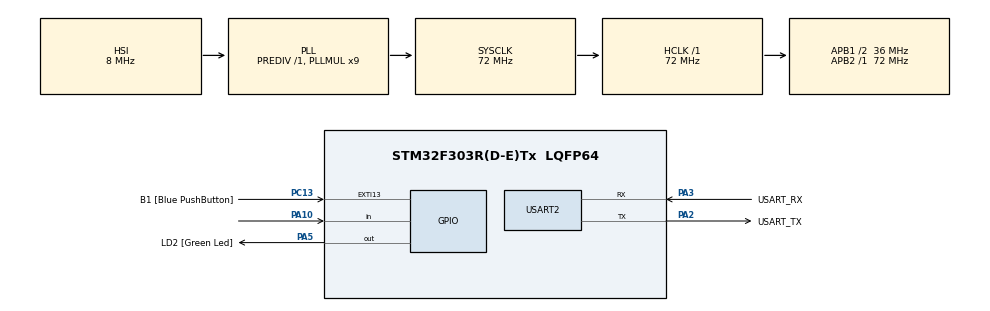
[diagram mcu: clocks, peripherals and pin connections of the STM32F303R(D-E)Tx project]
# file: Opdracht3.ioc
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Mcu.Family=STM32F3
Mcu.Name=STM32F303R(D-E)Tx
Mcu.Package=LQFP64
NVIC.PriorityGroup=NVIC_PRIORITYGROUP_0
PA10.Signal=GPIO_Input
PA13.GPIO_Label=TMS
PA13.Mode=Serial_Wire
PA13.Signal=SYS_JTMS-SWDIO
PA14.GPIO_Label=TCK
PA14.Mode=Serial_Wire
PA14.Signal=SYS_JTCK-SWCLK
PA2.GPIO_Label=USART_TX
PA2.GPIO_Mode=GPIO_MODE_AF_PP
PA2.GPIO_PuPd=GPIO_NOPULL
PA2.GPIO_Speed=GPIO_SPEED_FREQ_LOW
PA2.Mode=Asynchronous
PA2.Signal=USART2_TX
PA3.GPIO_Label=USART_RX
PA3.GPIO_Mode=GPIO_MODE_AF_PP
PA3.GPIO_PuPd=GPIO_NOPULL
PA3.GPIO_Speed=GPIO_SPEED_FREQ_LOW
PA3.Mode=Asynchronous
PA3.Signal=USART2_RX
PA5.GPIO_Label=LD2 [Green Led]
PA5.GPIO_Mode=GPIO_MODE_OUTPUT_PP
PA5.GPIO_PuPd=GPIO_NOPULL
PA5.GPIO_Speed=GPIO_SPEED_FREQ_LOW
PA5.Signal=GPIO_Output
PB3.GPIO_Label=SWO
PB3.Signal=SYS_JTDO-TRACESWO
PC13.GPIO_Label=B1 [Blue PushButton]
PC13.GPIO_ModeDefaultEXTI=GPIO_MODE_IT_FALLING
PC13.Signal=GPXTI13
PC14-OSC32_IN.Mode=LSE-External-Oscillator
PC14-OSC32_IN.Signal=RCC_OSC32_IN
PC15-OSC32_OUT.Mode=LSE-External-Oscillator
PC15-OSC32_OUT.Signal=RCC_OSC32_OUT
PF0-OSC_IN.Mode=HSE-External-Clock-Source
PF0-OSC_IN.Signal=RCC_OSC_IN
PF1-OSC_OUT.Signal=RCC_OSC_OUT
ProjectManager.HeapSize=0x200
ProjectManager.StackSize=0x400
ProjectManager.TargetToolchain=STM32CubeIDE
RCC.AHBFreq_Value=72000000
RCC.APB1CLKDivider=RCC_HCLK_DIV2
RCC.APB1Freq_Value=36000000
RCC.APB1TimFreq_Value=72000000
RCC.APB2Freq_Value=72000000
RCC.APB2TimFreq_Value=72000000
RCC.CortexFreq_Value=72000000
RCC.HCLKFreq_Value=72000000
RCC.HSE_VALUE=8000000
RCC.HSI_VALUE=8000000
RCC.PLLM=8
RCC.PLLMUL=RCC_PLL_MUL9
RCC.PLLN=336
RCC.PLLP=RCC_PLLP_DIV4
RCC.PLLQ=7
RCC.RCC_PLLsource_Clock_Source_FROM_HSE=RCC_HSE_PREDIV_DIV2
RCC.SYSCLKFreq_VALUE=72000000
RCC.SYSCLKSourceVirtual=RCC_SYSCLKSOURCE_PLLCLK
RCC.USBFreq_Value=72000000
USART2.VirtualMode-Asynchronous=VM_ASYNC
board=NUCLEO-F303RE

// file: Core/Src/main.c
/* USER CODE BEGIN Header */
/**
  ******************************************************************************
  * @file           : main.c
  * @brief          : Main program body
  ******************************************************************************
  * @attention
  *
  * Copyright (c) 2026 STMicroelectronics.
  * All rights reserved.
  *
  * This software is licensed under terms that can be found in the LICENSE file
  * in the root directory of this software component.
  * If no LICENSE file comes with this software, it is provided AS-IS.
  *
  ******************************************************************************
  */
/* USER CODE END Header */
#include "main.h"

/* USER CODE BEGIN PD */
#define TRUE 1
#define FALSE 0
/* USER CODE END PD */

UART_HandleTypeDef huart2;

void SystemClock_Config(void);
static void MX_GPIO_Init(void);
static void MX_USART2_UART_Init(void);

int main(void)
{

  /* MCU Configuration--------------------------------------------------------*/

  /* Reset of all peripherals, Initializes the Flash interface and the Systick. */
  HAL_Init();

  /* Configure the system clock */
  SystemClock_Config();

  /* Initialize all configured peripherals */
  MX_GPIO_Init();
  MX_USART2_UART_Init();
  /* USER CODE BEGIN 2 */
int oudeToestandKnop;
int aantalDrukken = 0;
GPIO_PinState value;

GPIO_InitTypeDef GPIO_InitStruct2 = {0};
GPIO_InitStruct2.Pin = GPIO_PIN_10;
GPIO_InitStruct2.Mode = GPIO_MODE_INPUT;
GPIO_InitStruct2.Pull = GPIO_PULLUP;
HAL_GPIO_Init(GPIOA, &GPIO_InitStruct2);

value = HAL_GPIO_ReadPin(GPIOA, GPIO_PIN_10);
oudeToestandKnop = (value == GPIO_PIN_SET) ? TRUE : FALSE;

if(value == GPIO_PIN_SET)
	oudeToestandKnop = FALSE;
else
	oudeToestandKnop = TRUE;
  /* USER CODE END 2 */

  /* Infinite loop */
  while (1)
  {

    /* USER CODE BEGIN 3 */
	  GPIO_PinState huidigeToestand = HAL_GPIO_ReadPin(GPIOA, GPIO_PIN_10);
	  	  if(oudeToestandKnop == TRUE && huidigeToestand == GPIO_PIN_RESET)
	  	    {
	  		  aantalDrukken++;
	  		  if (aantalDrukken == 3)
	  		  {
	  			HAL_GPIO_TogglePin(LD2_GPIO_Port, LD2_Pin);
	  			aantalDrukken = 0;
	  		  }
	  	        HAL_Delay(50);
	  	    }
	  	    oudeToestandKnop = (huidigeToestand == GPIO_PIN_SET) ? TRUE : FALSE;
	  	    HAL_Delay(10);
  }

  /* USER CODE END 3 */
}

void SystemClock_Config(void)
{
  RCC_OscInitTypeDef RCC_OscInitStruct = {0};
  RCC_ClkInitTypeDef RCC_ClkInitStruct = {0};
  RCC_PeriphCLKInitTypeDef PeriphClkInit = {0};

  /** Initializes the RCC Oscillators according to the specified parameters
  * in the RCC_OscInitTypeDef structure.
  */
  RCC_OscInitStruct.OscillatorType = RCC_OSCILLATORTYPE_HSI;
  RCC_OscInitStruct.HSIState = RCC_HSI_ON;
  RCC_OscInitStruct.HSICalibrationValue = RCC_HSICALIBRATION_DEFAULT;
  RCC_OscInitStruct.PLL.PLLState = RCC_PLL_ON;
  RCC_OscInitStruct.PLL.PLLSource = RCC_PLLSOURCE_HSI;
  RCC_OscInitStruct.PLL.PLLMUL = RCC_PLL_MUL9;
  RCC_OscInitStruct.PLL.PREDIV = RCC_PREDIV_DIV1;
  if (HAL_RCC_OscConfig(&RCC_OscInitStruct) != HAL_OK)
  {
    Error_Handler();
  }

  /** Initializes the CPU, AHB and APB buses clocks
  */
  RCC_ClkInitStruct.ClockType = RCC_CLOCKTYPE_HCLK|RCC_CLOCKTYPE_SYSCLK
                              |RCC_CLOCKTYPE_PCLK1|RCC_CLOCKTYPE_PCLK2;
  RCC_ClkInitStruct.SYSCLKSource = RCC_SYSCLKSOURCE_PLLCLK;
  RCC_ClkInitStruct.AHBCLKDivider = RCC_SYSCLK_DIV1;
  RCC_ClkInitStruct.APB1CLKDivider = RCC_HCLK_DIV2;
  RCC_ClkInitStruct.APB2CLKDivider = RCC_HCLK_DIV1;

  if (HAL_RCC_ClockConfig(&RCC_ClkInitStruct, FLASH_LATENCY_2) != HAL_OK)
  {
    Error_Handler();
  }
  PeriphClkInit.PeriphClockSelection = RCC_PERIPHCLK_USART2;
  PeriphClkInit.Usart2ClockSelection = RCC_USART2CLKSOURCE_PCLK1;
  if (HAL_RCCEx_PeriphCLKConfig(&PeriphClkInit) != HAL_OK)
  {
    Error_Handler();
  }
}

static void MX_USART2_UART_Init(void)
{

  huart2.Instance = USART2;
  huart2.Init.BaudRate = 38400;
  huart2.Init.WordLength = UART_WORDLENGTH_8B;
  huart2.Init.StopBits = UART_STOPBITS_1;
  huart2.Init.Parity = UART_PARITY_NONE;
  huart2.Init.Mode = UART_MODE_TX_RX;
  huart2.Init.HwFlowCtl = UART_HWCONTROL_NONE;
  huart2.Init.OverSampling = UART_OVERSAMPLING_16;
  huart2.Init.OneBitSampling = UART_ONE_BIT_SAMPLE_DISABLE;
  huart2.AdvancedInit.AdvFeatureInit = UART_ADVFEATURE_NO_INIT;
  if (HAL_UART_Init(&huart2) != HAL_OK)
  {
    Error_Handler();
  }

}

static void MX_GPIO_Init(void)
{
  GPIO_InitTypeDef GPIO_InitStruct = {0};

  /* GPIO Ports Clock Enable */
  __HAL_RCC_GPIOC_CLK_ENABLE();
  __HAL_RCC_GPIOF_CLK_ENABLE();
  __HAL_RCC_GPIOA_CLK_ENABLE();
  __HAL_RCC_GPIOB_CLK_ENABLE();

  /*Configure GPIO pin Output Level */
  HAL_GPIO_WritePin(LD2_GPIO_Port, LD2_Pin, GPIO_PIN_RESET);

  /*Configure GPIO pin : B1_Pin */
  GPIO_InitStruct.Pin = B1_Pin;
  GPIO_InitStruct.Mode = GPIO_MODE_IT_FALLING;
  GPIO_InitStruct.Pull = GPIO_NOPULL;
  HAL_GPIO_Init(B1_GPIO_Port, &GPIO_InitStruct);

  /*Configure GPIO pin : LD2_Pin */
  GPIO_InitStruct.Pin = LD2_Pin;
  GPIO_InitStruct.Mode = GPIO_MODE_OUTPUT_PP;
  GPIO_InitStruct.Pull = GPIO_NOPULL;
  GPIO_InitStruct.Speed = GPIO_SPEED_FREQ_LOW;
  HAL_GPIO_Init(LD2_GPIO_Port, &GPIO_InitStruct);

}

void Error_Handler(void)
{
  __disable_irq();
  while (1)
  {
  }
}
